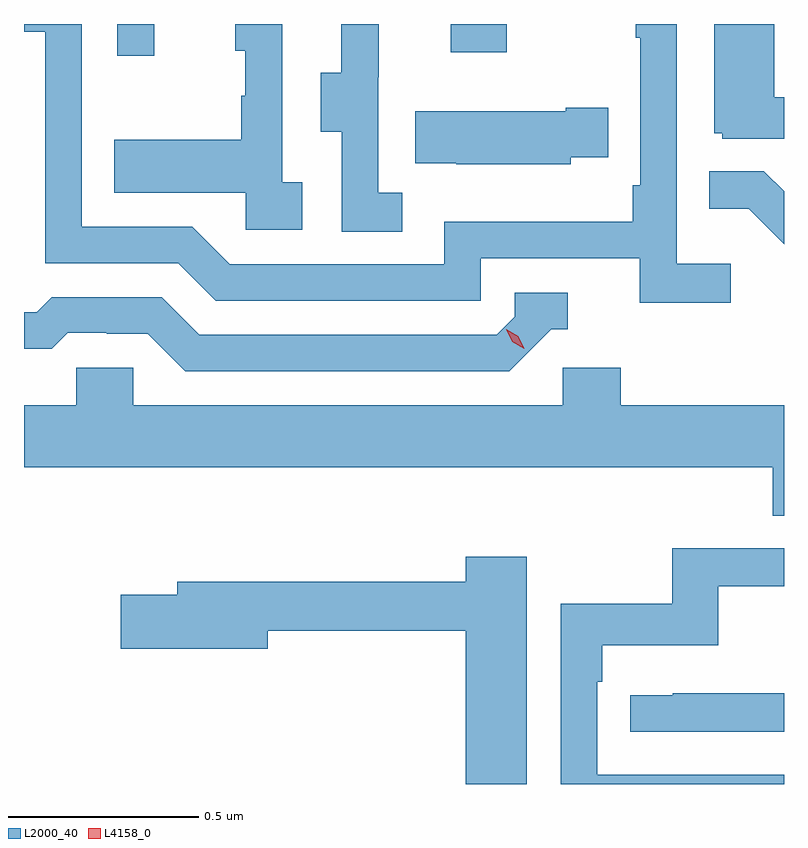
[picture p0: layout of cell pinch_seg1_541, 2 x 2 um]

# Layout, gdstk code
import gdstk
lib = gdstk.Library(unit=1e-6, precision=1e-09)
def R(c, l, rs):  # rectangles x0, y0, x1, y1
    for r in rs: c.add(gdstk.rectangle(r[:2], r[2:], *l))
def P(c, l, *ps):  # polygons
    for p in ps: c.add(gdstk.Polygon(p, *l))
L2000_40 = (2000, 40)
L4158_0 = (4158, 0)

pinch_seg1_541 = lib.new_cell('pinch_seg1_541')
R(pinch_seg1_541, L2000_40, [(1071.087,539.496,1071.185,539.579), (1071.965,539.505,1072.113,539.579)])
P(pinch_seg1_541, L2000_40, [(1071.574,539.162),(1071.522,539.162),(1071.522,539.579),(1071.398,539.579),(1071.398,539.508),(1071.424,539.508),(1071.424,539.39),(1071.414,539.39),(1071.414,539.275),(1071.079,539.275),(1071.079,539.135),(1071.426,539.135),(1071.426,539.037),(1071.574,539.037)],
  [(1071.838,539.135),(1071.774,539.135),(1071.774,539.439),(1071.776,539.439),(1071.776,539.579),(1071.677,539.579),(1071.677,539.451),(1071.623,539.451),(1071.623,539.296),(1071.678,539.296),(1071.678,539.032),(1071.838,539.032)],
  [(1072.702,538.948),(1072.56,538.948),(1072.56,539.579),(1072.452,539.579),(1072.452,539.543),(1072.464,539.543),(1072.464,539.155),(1072.444,539.155),(1072.444,539.059),(1071.948,539.059),(1071.948,538.947),(1071.384,538.947),(1071.285,539.046),(1070.994,539.046),(1070.994,539.579),(1070.842,539.579),(1070.842,539.559),(1070.898,539.559),(1070.898,538.95),(1071.248,538.95),(1071.347,538.851),(1072.044,538.851),(1072.044,538.962),(1072.463,538.962),(1072.463,538.846),(1072.702,538.846)],
  [(1072.842,539.386),(1072.816,539.386),(1072.816,539.579),(1072.658,539.579),(1072.658,539.292),(1072.68,539.292),(1072.68,539.277),(1072.842,539.277)],
  [(1072.281,539.228),(1072.379,539.228),(1072.379,539.358),(1072.268,539.358),(1072.268,539.35),(1071.871,539.35),(1071.871,539.213),(1071.979,539.213),(1071.979,539.21),(1072.281,539.21)],
  [(1072.842,539.139),(1072.789,539.192),(1072.645,539.192),(1072.645,539.093),(1072.749,539.093),(1072.842,539)],
  [(1072.23,538.776),(1072.273,538.776),(1072.273,538.872),(1072.134,538.872),(1072.134,538.809),(1072.086,538.761),(1071.303,538.761),(1071.204,538.86),(1070.915,538.86),(1070.876,538.821),(1070.842,538.821),(1070.842,538.725),(1070.915,538.725),(1070.957,538.767),(1071.06,538.767),(1071.06,538.764),(1071.167,538.764),(1071.266,538.665),(1072.119,538.665)],
  [(1072.842,538.576),(1072.412,538.576),(1072.412,538.674),(1072.26,538.674),(1072.26,538.576),(1071.129,538.576),(1071.129,538.674),(1070.979,538.674),(1070.979,538.576),(1070.842,538.576),(1070.842,538.412),(1072.813,538.412),(1072.813,538.285),(1072.842,538.285)],
  [(1072.842,537.604),(1072.663,537.604),(1072.663,537.603),(1072.35,537.603),(1072.35,537.848),(1072.364,537.848),(1072.364,537.944),(1072.669,537.944),(1072.669,538.099),(1072.842,538.099),(1072.842,538.2),(1072.548,538.2),(1072.548,538.054),(1072.254,538.054),(1072.254,537.579),(1072.842,537.579)],
  [(1072.165,538.177),(1072.004,538.177),(1072.004,538.111),(1071.245,538.111),(1071.245,538.077),(1071.096,538.077),(1071.096,537.935),(1071.484,537.935),(1071.484,537.982),(1072.004,537.982),(1072.004,537.579),(1072.165,537.579)],
  [(1072.842,537.818),(1072.549,537.818),(1072.549,537.813),(1072.437,537.813),(1072.437,537.717),(1072.842,537.717)])
P(pinch_seg1_541, L4158_0, [(1072.158,538.724),(1072.127,538.743),(1072.111,538.776),(1072.111,538.776),(1072.111,538.776),(1072.142,538.757),(1072.158,538.724),(1072.158,538.724)])

lib.write_gds('pinch_seg1_541.gds')
